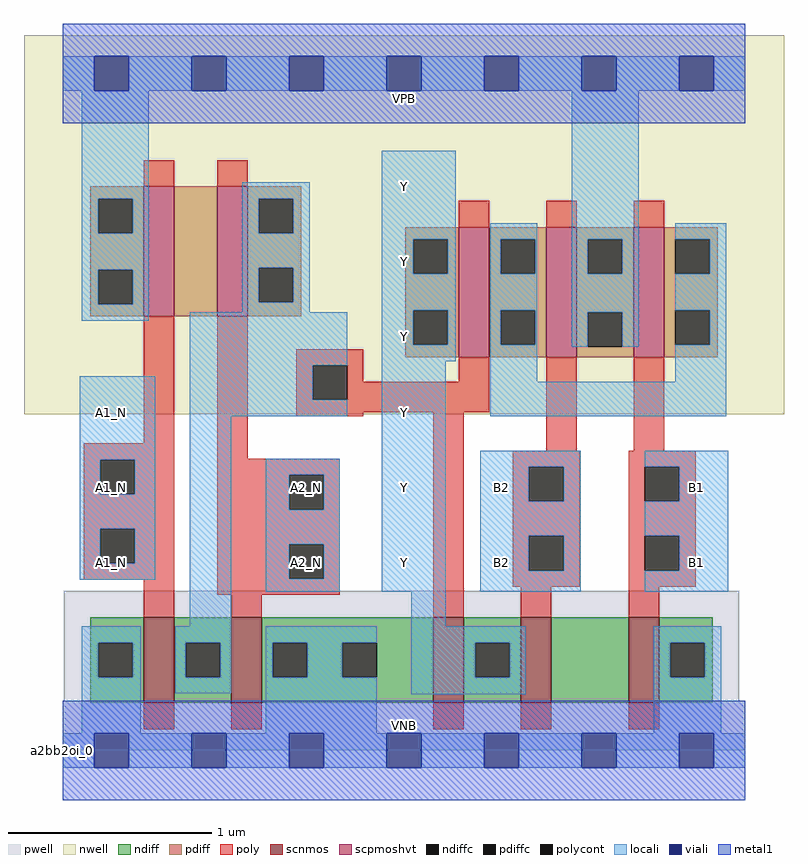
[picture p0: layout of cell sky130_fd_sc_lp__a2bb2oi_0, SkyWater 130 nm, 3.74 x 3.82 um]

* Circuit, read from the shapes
.subckt sky130_fd_sc_lp__a2bb2oi_0 A1_N A2_N B1 B2 VGND VNB VPB VPWR Y
XM1 n1 A1_N VGND VNB sky130_fd_pr__nfet_01v8 w=0.42 l=0.15
XM2 VGND A2_N n1 VNB sky130_fd_pr__nfet_01v8 w=0.42 l=0.15
XM3 Y n1 VGND VNB sky130_fd_pr__nfet_01v8 w=0.42 l=0.15
XM4 n2 B2 Y VNB sky130_fd_pr__nfet_01v8 w=0.42 l=0.15
XM5 VGND B1 n2 VNB sky130_fd_pr__nfet_01v8 w=0.42 l=0.15
XM6 n3 A1_N VPWR VPB sky130_fd_pr__pfet_01v8_hvt w=0.64 l=0.15
XM7 n1 A2_N n3 VPB sky130_fd_pr__pfet_01v8_hvt w=0.64 l=0.15
XM8 n4 n1 Y VPB sky130_fd_pr__pfet_01v8_hvt w=0.64 l=0.15
XM9 VPWR B2 n4 VPB sky130_fd_pr__pfet_01v8_hvt w=0.64 l=0.15
XM10 n4 B1 VPWR VPB sky130_fd_pr__pfet_01v8_hvt w=0.64 l=0.15
.ends

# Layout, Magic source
magic
tech sky130A
magscale 1 2
<< nwell >>
rect -38 331 710 704
<< pwell >>
rect 1 49 666 157
rect 0 0 672 49
<< scnmos >>
rect 80 47 110 131
rect 166 47 196 131
rect 365 47 395 131
rect 451 47 481 131
rect 557 47 587 131
<< scpmoshvt >>
rect 80 427 110 555
rect 152 427 182 555
rect 390 387 420 515
rect 476 387 506 515
rect 562 387 592 515
<< ndiff >>
rect 27 106 80 131
rect 27 72 35 106
rect 69 72 80 106
rect 27 47 80 72
rect 110 106 166 131
rect 110 72 121 106
rect 155 72 166 106
rect 110 47 166 72
rect 196 106 365 131
rect 196 72 207 106
rect 241 72 275 106
rect 309 72 365 106
rect 196 47 365 72
rect 395 106 451 131
rect 395 72 406 106
rect 440 72 451 106
rect 395 47 451 72
rect 481 47 557 131
rect 587 106 640 131
rect 587 72 598 106
rect 632 72 640 106
rect 587 47 640 72
<< pdiff >>
rect 27 543 80 555
rect 27 509 35 543
rect 69 509 80 543
rect 27 473 80 509
rect 27 439 35 473
rect 69 439 80 473
rect 27 427 80 439
rect 110 427 152 555
rect 182 543 235 555
rect 182 509 193 543
rect 227 509 235 543
rect 182 475 235 509
rect 182 441 193 475
rect 227 441 235 475
rect 182 427 235 441
rect 337 503 390 515
rect 337 469 345 503
rect 379 469 390 503
rect 337 433 390 469
rect 337 399 345 433
rect 379 399 390 433
rect 337 387 390 399
rect 420 503 476 515
rect 420 469 431 503
rect 465 469 476 503
rect 420 433 476 469
rect 420 399 431 433
rect 465 399 476 433
rect 420 387 476 399
rect 506 503 562 515
rect 506 469 517 503
rect 551 469 562 503
rect 506 431 562 469
rect 506 397 517 431
rect 551 397 562 431
rect 506 387 562 397
rect 592 503 645 515
rect 592 469 603 503
rect 637 469 645 503
rect 592 433 645 469
rect 592 399 603 433
rect 637 399 645 433
rect 592 387 645 399
<< ndiffc >>
rect 35 72 69 106
rect 121 72 155 106
rect 207 72 241 106
rect 275 72 309 106
rect 406 72 440 106
rect 598 72 632 106
<< pdiffc >>
rect 35 509 69 543
rect 35 439 69 473
rect 193 509 227 543
rect 193 441 227 475
rect 345 469 379 503
rect 345 399 379 433
rect 431 469 465 503
rect 431 399 465 433
rect 517 469 551 503
rect 517 397 551 431
rect 603 469 637 503
rect 603 399 637 433
<< poly >>
rect 80 555 110 581
rect 152 555 182 581
rect 390 515 420 541
rect 476 515 506 541
rect 562 515 592 541
rect 80 302 110 427
rect 21 286 110 302
rect 21 252 37 286
rect 71 252 110 286
rect 21 218 110 252
rect 21 184 37 218
rect 71 184 110 218
rect 21 168 110 184
rect 80 131 110 168
rect 152 287 182 427
rect 230 379 296 395
rect 230 345 246 379
rect 280 363 296 379
rect 390 363 420 387
rect 280 345 420 363
rect 230 333 420 345
rect 230 329 296 333
rect 152 271 273 287
rect 152 237 223 271
rect 257 237 273 271
rect 152 203 273 237
rect 152 169 223 203
rect 257 169 273 203
rect 152 153 273 169
rect 166 131 196 153
rect 365 131 395 333
rect 476 295 506 387
rect 562 295 592 387
rect 443 279 509 295
rect 443 245 459 279
rect 493 245 509 279
rect 443 211 509 245
rect 443 177 459 211
rect 493 177 509 211
rect 443 161 509 177
rect 557 279 623 295
rect 557 245 573 279
rect 607 245 623 279
rect 557 211 623 245
rect 557 177 573 211
rect 607 177 623 211
rect 557 161 623 177
rect 451 131 481 161
rect 557 131 587 161
rect 80 21 110 47
rect 166 21 196 47
rect 365 21 395 47
rect 451 21 481 47
rect 557 21 587 47
<< polycont >>
rect 37 252 71 286
rect 37 184 71 218
rect 246 345 280 379
rect 223 237 257 271
rect 223 169 257 203
rect 459 245 493 279
rect 459 177 493 211
rect 573 245 607 279
rect 573 177 607 211
<< locali >>
rect 0 649 31 683
rect 65 649 127 683
rect 161 649 223 683
rect 257 649 319 683
rect 353 649 415 683
rect 449 649 511 683
rect 545 649 607 683
rect 641 649 672 683
rect 19 543 85 649
rect 19 509 35 543
rect 69 509 85 543
rect 19 473 85 509
rect 19 439 35 473
rect 69 439 85 473
rect 19 423 85 439
rect 177 543 243 559
rect 177 509 193 543
rect 227 509 243 543
rect 177 475 243 509
rect 177 441 193 475
rect 227 441 243 475
rect 177 431 243 441
rect 314 503 387 590
rect 314 469 345 503
rect 379 469 387 503
rect 314 433 387 469
rect 125 379 280 431
rect 17 286 91 368
rect 17 252 37 286
rect 71 252 91 286
rect 17 218 91 252
rect 17 184 37 218
rect 71 184 91 218
rect 17 168 91 184
rect 125 345 246 379
rect 125 329 280 345
rect 314 399 345 433
rect 379 399 387 433
rect 314 383 387 399
rect 421 503 467 519
rect 421 469 431 503
rect 465 469 467 503
rect 421 433 467 469
rect 421 399 431 433
rect 465 399 467 433
rect 125 122 166 329
rect 200 271 273 287
rect 200 237 223 271
rect 257 237 273 271
rect 200 203 273 237
rect 200 169 223 203
rect 257 169 273 203
rect 200 156 273 169
rect 314 156 377 383
rect 421 363 467 399
rect 501 503 567 649
rect 501 469 517 503
rect 551 469 567 503
rect 501 431 567 469
rect 501 397 517 431
rect 551 397 567 431
rect 603 503 653 519
rect 637 469 653 503
rect 603 433 653 469
rect 637 399 653 433
rect 603 363 653 399
rect 421 329 653 363
rect 411 279 510 295
rect 411 245 459 279
rect 493 245 510 279
rect 411 211 510 245
rect 411 177 459 211
rect 493 177 510 211
rect 411 156 510 177
rect 573 279 655 295
rect 607 245 655 279
rect 573 211 655 245
rect 607 177 655 211
rect 573 156 655 177
rect 343 122 377 156
rect 19 106 77 122
rect 19 72 35 106
rect 69 72 77 106
rect 19 17 77 72
rect 111 106 166 122
rect 111 72 121 106
rect 155 72 166 106
rect 111 56 166 72
rect 200 106 309 122
rect 200 72 207 106
rect 241 72 275 106
rect 200 17 309 72
rect 343 106 456 122
rect 343 72 406 106
rect 440 72 456 106
rect 343 55 456 72
rect 582 106 648 122
rect 582 72 598 106
rect 632 72 648 106
rect 582 17 648 72
rect 0 -17 31 17
rect 65 -17 127 17
rect 161 -17 223 17
rect 257 -17 319 17
rect 353 -17 415 17
rect 449 -17 511 17
rect 545 -17 607 17
rect 641 -17 672 17
<< viali >>
rect 31 649 65 683
rect 127 649 161 683
rect 223 649 257 683
rect 319 649 353 683
rect 415 649 449 683
rect 511 649 545 683
rect 607 649 641 683
rect 31 -17 65 17
rect 127 -17 161 17
rect 223 -17 257 17
rect 319 -17 353 17
rect 415 -17 449 17
rect 511 -17 545 17
rect 607 -17 641 17
<< metal1 >>
rect 0 683 672 715
rect 0 649 31 683
rect 65 649 127 683
rect 161 649 223 683
rect 257 649 319 683
rect 353 649 415 683
rect 449 649 511 683
rect 545 649 607 683
rect 641 649 672 683
rect 0 617 672 649
rect 0 17 672 49
rect 0 -17 31 17
rect 65 -17 127 17
rect 161 -17 223 17
rect 257 -17 319 17
rect 353 -17 415 17
rect 449 -17 511 17
rect 545 -17 607 17
rect 641 -17 672 17
rect 0 -49 672 -17
<< labels >>
flabel pwell s 0 0 672 49 0 FreeSans 200 0 0 0 VNB
port 6 nsew ground bidirectional
flabel nwell s 0 617 672 666 0 FreeSans 200 0 0 0 VPB
port 7 nsew power bidirectional
rlabel comment s 0 0 0 0 4 a2bb2oi_0
flabel metal1 s 0 617 672 666 0 FreeSans 340 0 0 0 VPWR
port 8 nsew power bidirectional
flabel metal1 s 0 0 672 49 0 FreeSans 340 0 0 0 VGND
port 5 nsew ground bidirectional
flabel locali s 31 168 65 202 0 FreeSans 340 0 0 0 A1_N
port 1 nsew signal input
flabel locali s 31 242 65 276 0 FreeSans 340 0 0 0 A1_N
port 1 nsew signal input
flabel locali s 31 316 65 350 0 FreeSans 340 0 0 0 A1_N
port 1 nsew signal input
flabel locali s 223 168 257 202 0 FreeSans 340 0 0 0 A2_N
port 2 nsew signal input
flabel locali s 223 242 257 276 0 FreeSans 340 0 0 0 A2_N
port 2 nsew signal input
flabel locali s 607 168 641 202 0 FreeSans 340 0 0 0 B1
port 3 nsew signal input
flabel locali s 607 242 641 276 0 FreeSans 340 0 0 0 B1
port 3 nsew signal input
flabel locali s 415 168 449 202 0 FreeSans 340 0 0 0 B2
port 4 nsew signal input
flabel locali s 415 242 449 276 0 FreeSans 340 0 0 0 B2
port 4 nsew signal input
flabel locali s 319 168 353 202 0 FreeSans 340 0 0 0 Y
port 9 nsew signal output
flabel locali s 319 242 353 276 0 FreeSans 340 0 0 0 Y
port 9 nsew signal output
flabel locali s 319 316 353 350 0 FreeSans 340 0 0 0 Y
port 9 nsew signal output
flabel locali s 319 390 353 424 0 FreeSans 340 0 0 0 Y
port 9 nsew signal output
flabel locali s 319 464 353 498 0 FreeSans 340 0 0 0 Y
port 9 nsew signal output
flabel locali s 319 538 353 572 0 FreeSans 340 0 0 0 Y
port 9 nsew signal output
<< properties >>
string LEFsite unit
string LEFclass CORE
string FIXED_BBOX 0 0 672 666
string GDS_FILE $PDKPATH/libs.ref/sky130_fd_sc_lp/gds/sky130_fd_sc_lp.gds
string LEFsymmetry X Y R90
string GDS_END 3061802
string GDS_START 3054318
<< end >>
